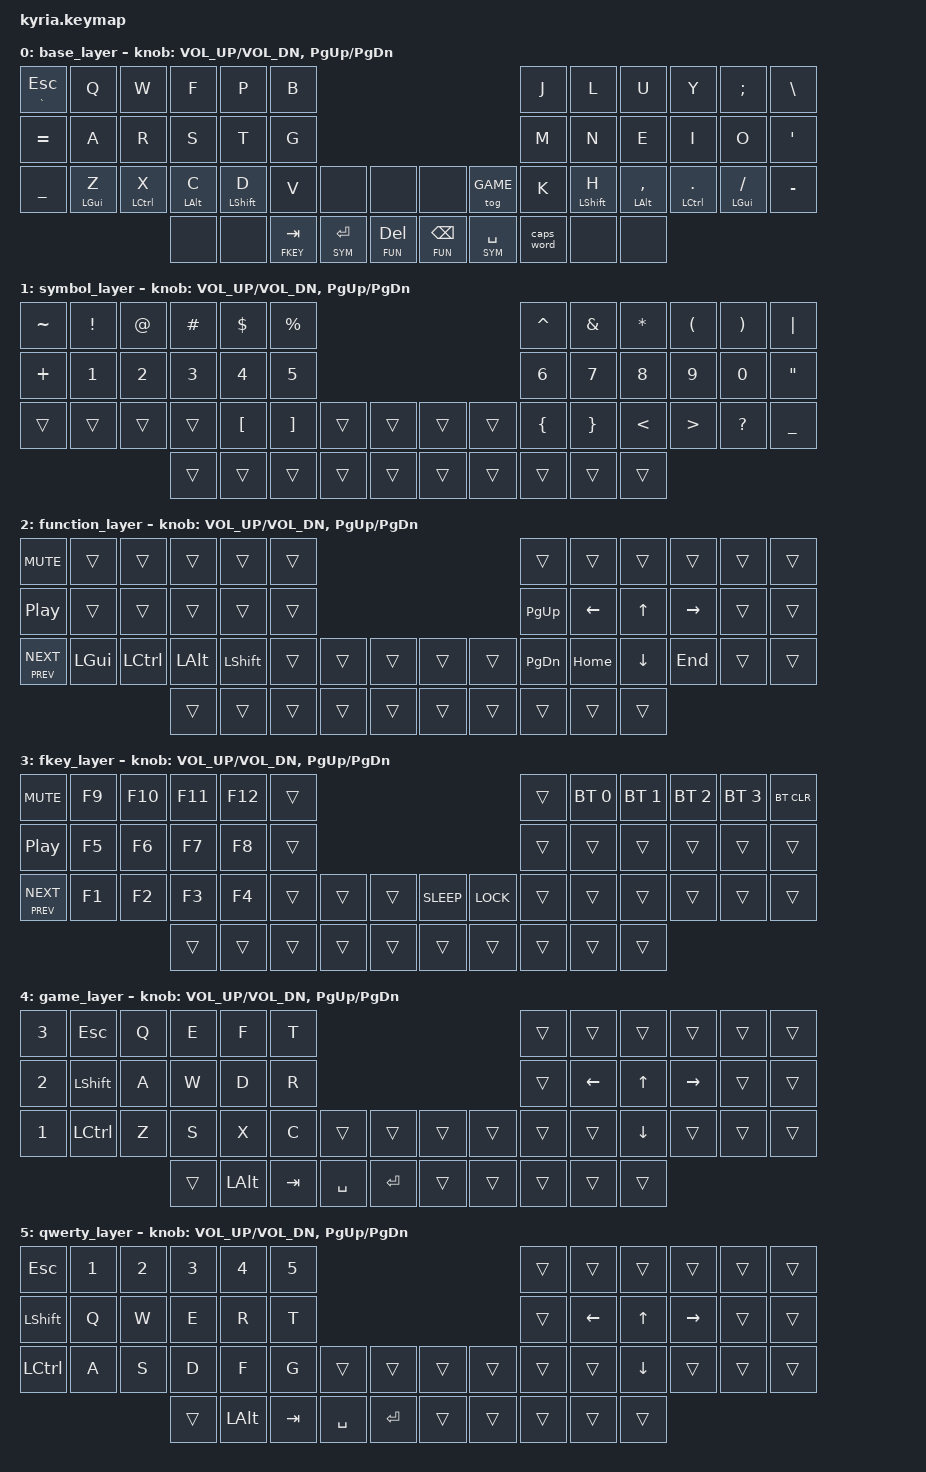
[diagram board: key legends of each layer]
/*
 * Copyright (c) 2020 The ZMK Contributors
 *
 * SPDX-License-Identifier: MIT
 */

#include <behaviors.dtsi>
#include <dt-bindings/zmk/keys.h>
#include <dt-bindings/zmk/bt.h>

#define BASE		0
#define SYM			1
#define FUN			2
#define FKEY		3
#define GAME		4
#define QWERTY		5

/ {
	behaviors {
		hrr: custom_mod_tap {
			compatible = "zmk,behavior-hold-tap";
			label = "BELOW_HOME_ROW";
			#binding-cells = <2>;
			tapping-term-ms = <150>;
			quick_tap_ms = <0>;
			flavor = "tap-preferred";
			bindings = <&kp>, <&kp>;
		};
		ge: custom_mod_tap {
			compatible = "zmk,behavior-hold-tap";
			label = "GRAVE_ESCAPE";
			#binding-cells = <2>;
			tapping-term-ms = <200>;
			quick_tap_ms = <0>;
			flavor = "tap-preferred";
			bindings = <&kp>, <&kp>;
		};
		ltw: custom_layer_tap {
			compatible = "zmk,behavior-hold-tap";
			label = "LAYER_TAP";
			#binding-cells = <2>; 
			flavor = "balanced";
			tapping-term-ms = <250>;
			quick_tap_ms = <200>;
			bindings = <&mo>, <&kp>;
		};


	};                             

  	keymap { 
		compatible = "zmk,keymap";
		base_layer {
			bindings = <
&ge GRAVE ESC	&kp	Q			&kp	W			&kp	F			&kp	P			&kp	B																			&kp	J		&kp	L			&kp	U				&kp	Y			&kp	SEMI			&kp	BSLH
&kp	EQUAL		&kp A			&kp R			&kp S			&kp T			&kp	G																			&kp	M		&kp N			&kp E				&kp I			&kp O 				&kp	SQT
&kp	UNDER		&hrr LGUI Z		&hrr LCTL X		&hrr LALT C		&hrr LSHFT D	&kp	V			&none			&none			&none			&tog GAME		&kp	K		&hrr LSHFT H	&hrr LALT COMMA		&hrr LCTL DOT	&hrr LGUI FSLH		&kp	MINUS
												&none			&none			&ltw FKEY TAB	&ltw SYM RET 	&ltw FUN DEL 	&ltw FUN BSPC	&ltw SYM SPACE	&caps_word 	&none			&none
			>;
			sensor-bindings = <&inc_dec_kp C_VOL_UP C_VOL_DN &inc_dec_kp PG_UP PG_DN>;
		}; 

		symbol_layer {
			bindings = <
&kp TILDE	&kp	EXCL	&kp	AT		&kp	POUND	&kp	DLLR	&kp	PRCNT													&kp	CARET		&kp	AMPS		&kp	ASTRK		&kp	LPAR	&kp	RPAR		&kp PIPE
&kp PLUS	&kp N1		&kp N2		&kp N3		&kp N4		&kp	N5														&kp	N6			&kp N7			&kp N8			&kp N9		&kp N0			&kp DQT
&trans	 	&trans		&trans		&trans		&kp	LBKT	&kp	RBKT	&trans		&trans		&trans		&trans		&kp	LBRC		&kp	RBRC		&kp LT			&kp GT		&kp QMARK		&kp UNDER
									&trans		&trans		&trans		&trans		&trans		&trans		&trans		&trans			&trans			&trans	
			>;
			sensor-bindings = <&inc_dec_kp C_VOL_UP C_VOL_DN &inc_dec_kp PG_UP PG_DN>;
		};

		function_layer {
			bindings = <
&kp C_MUTE			&trans		&trans		&trans		&trans		&trans														&trans			&trans		&trans		&trans		&trans		&trans	
&kp C_PP			&trans		&trans		&trans		&trans		&trans														&kp	PG_UP		&kp	LEFT	&kp	UP		&kp RIGHT	&trans		&trans	
&ge	C_PREV C_NEXT	&kp LGUI	&kp LCTL	&kp LALT	&kp LSHFT	&trans		&trans		&trans		&trans		&trans		&kp PG_DN		&kp HOME	&kp	DOWN	&kp END		&trans		&trans		
											&trans		&trans		&trans		&trans		&trans		&trans		&trans		&trans			&trans		&trans	
			>;
			sensor-bindings = <&inc_dec_kp C_VOL_UP C_VOL_DN &inc_dec_kp PG_UP PG_DN>;
		};		
		
		fkey_layer {
			bindings = <
&kp C_MUTE			&kp	F9		&kp	F10		&kp	F11		&kp	F12		&trans															&trans		&bt BT_SEL 0	&bt BT_SEL 1	&bt BT_SEL 2	&bt BT_SEL 3	&bt BT_CLR	
&kp C_PP			&kp	F5		&kp	F6		&kp	F7		&kp	F8		&trans															&trans		&trans			&trans			&trans			&trans			&trans	
&ge	C_PREV C_NEXT	&kp	F1		&kp	F2		&kp	F3		&kp	F4		&trans		&trans		&trans		&kp K_SLEEP	&kp K_LOCK		&trans		&trans			&trans			&trans			&trans			&trans		
											&trans		&trans		&trans		&trans		&trans		&trans		&trans			&trans		&trans			&trans	
			>;
			sensor-bindings = <&inc_dec_kp C_VOL_UP C_VOL_DN &inc_dec_kp PG_UP PG_DN>;
		};
											
		game_layer {
			bindings = <
&kp N3		&kp ESC		&kp Q		&kp E		&kp F		&kp T														&trans		&trans		&trans		&trans		&trans		&trans		
&kp N2		&kp LSHFT	&kp A		&kp W		&kp D 		&kp R														&trans		&kp	LEFT	&kp	UP		&kp RIGHT	&trans		&trans	
&kp N1		&kp LCTL	&kp Z		&kp S		&kp X		&kp C		&trans		&trans		&trans		&trans		&trans		&trans		&kp	DOWN	&trans		&trans		&trans		 
									&trans		&kp LALT	&kp TAB		&kp SPACE	&kp RET		&trans		&trans		&trans		&trans		&trans	
			>;
			sensor-bindings = <&inc_dec_kp C_VOL_UP C_VOL_DN &inc_dec_kp PG_UP PG_DN>;
		};	
											
		qwerty_layer {
			bindings = <
&kp ESC		&kp N1		&kp N2		&kp N3		&kp N4		&kp N5														&trans		&trans		&trans		&trans		&trans		&trans		
&kp LSHFT	&kp Q		&kp W		&kp E 		&kp R		&kp T														&trans		&kp	LEFT	&kp	UP		&kp RIGHT	&trans		&trans	
&kp LCTL	&kp A		&kp S		&kp D		&kp F		&kp G		&trans		&trans		&trans		&trans		&trans		&trans		&kp	DOWN	&trans		&trans		&trans
									&trans		&kp LALT	&kp TAB		&kp SPACE	&kp RET		&trans		&trans		&trans		&trans		&trans	
			>;
			sensor-bindings = <&inc_dec_kp C_VOL_UP C_VOL_DN &inc_dec_kp PG_UP PG_DN>;
		};	
	};
};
